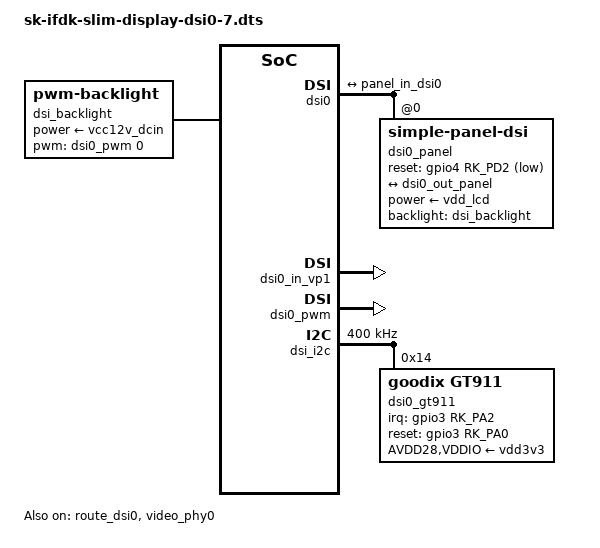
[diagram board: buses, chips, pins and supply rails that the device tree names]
// SPDX-License-Identifier: (GPL-2.0+ OR MIT)
/*
* Copyright (c) 2025 Sergey Kharenko
*/

/dts-v1/;
/plugin/;

#include <dt-bindings/display/drm_mipi_dsi.h>
#include <dt-bindings/display/rockchip_vop.h>
#include <dt-bindings/interrupt-controller/irq.h>
#include <dt-bindings/gpio/gpio.h>
#include <dt-bindings/pinctrl/rockchip.h>

/ {
	metadata {
		title ="Enable SK IFDK Slim Display 7 with Touchpad";
		compatible = "sk,ifdk-lite";
		category = "display";
		exclusive = "dsi0";
		description = "Enable SK IFDK Slim Display 7 with Touchpad.";
	};

    fragment@0 {
		target-path = "/";

        __overlay__ {
            dsi_backlight: dsi-backlight {
                compatible = "pwm-backlight";
                brightness-levels = <
                    0  20  20  21  21  22  22  23
                    23  24  24  25  25  26  26  27
                    27  28  28  29  29  30  30  31
                    31  32  32  33  33  34  34  35
                    35  36  36  37  37  38  38  39
                    40  41  42  43  44  45  46  47
                    48  49  50  51  52  53  54  55
                    56  57  58  59  60  61  62  63
                    64  65  66  67  68  69  70  71
                    72  73  74  75  76  77  78  79
                    80  81  82  83  84  85  86  87
                    88  89  90  91  92  93  94  95
                    96  97  98  99 100 101 102 103
                    104 105 106 107 108 109 110 111
                    112 113 114 115 116 117 118 119
                    120 121 122 123 124 125 126 127
                    128 129 130 131 132 133 134 135
                    136 137 138 139 140 141 142 143
                    144 145 146 147 148 149 150 151
                    152 153 154 155 156 157 158 159
                    160 161 162 163 164 165 166 167
                    168 169 170 171 172 173 174 175
                    176 177 178 179 180 181 182 183
                    184 185 186 187 188 189 190 191
                    192 193 194 195 196 197 198 199
                    200 201 202 203 204 205 206 207
                    208 209 210 211 212 213 214 215
                    216 217 218 219 220 221 222 223
                    224 225 226 227 228 229 230 231
                    232 233 234 235 236 237 238 239
                    240 241 242 243 244 245 246 247
                    248 249 250 251 252 253 254 255
                >;
                default-brightness-level = <200>;
                power-supply = <&vcc12v_dcin>;
                pwms = <&dsi0_pwm 0 20000 0>;
            };
        };
    };

    fragment@1 {
        target = <&dsi0>;

        __overlay__ {
            status = "okay";
            #address-cells = <1>;
			#size-cells = <0>;

            dsi0_panel: main-panel@0 {
                status = "okay";
                compatible = "simple-panel-dsi";
                reg = <0>;
                rotation = <270>;
                power-supply = <&vdd_lcd>;
                backlight = <&dsi_backlight>;
                pinctrl-names = "default";
                pinctrl-0 = <&lcd_rst>;
                reset-gpios = <&gpio4 RK_PD2 GPIO_ACTIVE_LOW>;
                panel-name = "AML070WU01";
                reset-delay-ms = <120>;
                enable-delay-ms = <50>;
                prepare-delay-ms = <50>;
                unprepare-delay-ms = <50>;
                disable-delay-ms = <60>;
                init-delay-ms = <200>;
        
                dsi,bpc = <8>;
                dsi,flags = <(MIPI_DSI_MODE_VIDEO | MIPI_DSI_MODE_VIDEO_BURST |
                        MIPI_DSI_MODE_VIDEO_SYNC_PULSE)>;
                dsi,format = <MIPI_DSI_FMT_RGB888>;
                dsi,lanes  = <4>;
        
                panel-init-sequence = [
                    39 00 03 E0 AB BA
                    15 00 02 FF 01
                    15 00 02 83 16 
                    15 00 02 90 81 
                    15 00 02 FF 02 
                    15 00 02 80 A0 
                    15 00 02 81 80 
                    15 00 02 82 50 
                    15 00 02 A2 B0 
                    15 00 02 A3 49 
                    15 00 02 A4 6B 
                    15 00 02 A5 34 
                    15 00 02 A6 22 
                    15 00 02 A7 34 
                    15 00 02 A8 22 
                    15 00 02 A9 51 
                    15 00 02 AA D4 
                    15 00 02 AB A6 
                    15 00 02 AC 05 
                    15 00 02 AD AB 
                    15 00 02 AE 3B 
                    15 00 02 AF 1B 
                    15 00 02 B0 1E 
                    15 00 02 B1 AB 
                    15 00 02 B2 C1 
                    15 00 02 B3 22 
                    15 00 02 B4 FF 
                    15 00 02 B5 CC 
                    15 00 02 B6 23 
                    15 00 02 B7 01 
                    15 00 02 BF 00 
                    15 00 02 C0 0E 
                    15 00 02 C1 00 
                    15 00 02 C2 FF 
                    15 00 02 C3 08 
                    15 00 02 C5 FF 
                    15 00 02 C7 00 
                    15 00 02 C8 05 
                    15 00 02 C9 12 
                    15 00 02 CA 29 
                    15 00 02 CB 41 
                    15 00 02 CE 06 
                    15 00 02 D1 7F 
                    15 00 02 D2 71 
                    15 00 02 D3 6B 
                    15 00 02 D4 6F 
                    15 00 02 D5 6F 
                    15 00 02 D6 6D 
                    15 00 02 D7 69 
                    15 00 02 D8 63 
                    15 00 02 D9 5B 
                    15 00 02 DA 53 
                    15 00 02 DB 4F 
                    15 00 02 DC 4B 
                    15 00 02 DD 4B 
                    15 00 02 DE 43 
                    15 00 02 DF 27 
                    15 00 02 E0 13 
                    15 00 02 E1 00 
                    15 00 02 E2 7F 
                    15 00 02 E3 71 
                    15 00 02 E4 6B 
                    15 00 02 E5 6F 
                    15 00 02 E6 6F 
                    15 00 02 E7 6D 
                    15 00 02 E8 69 
                    15 00 02 E9 63 
                    15 00 02 EA 5B 
                    15 00 02 EB 53 
                    15 00 02 EC 4F 
                    15 00 02 ED 4B 
                    15 00 02 EE 4B 
                    15 00 02 EF 43 
                    15 00 02 F0 27 
                    15 00 02 F1 13 
                    15 00 02 F2 00 
                    15 00 02 FF 03 
                    15 00 02 9D 00 
                    15 00 02 FF 04 
                    15 00 02 80 FD 
                    15 00 02 81 CB 
                    15 00 02 82 A9 
                    15 00 02 83 80 
                    15 00 02 84 86 
                    15 00 02 85 66 
                    15 00 02 86 66 
                    15 00 02 87 60 
                    15 00 02 88 A0 
                    15 00 02 89 08 
                    15 00 02 8A A0 
                    15 00 02 8B 08 
                    15 00 02 8C 02 
                    15 00 02 8D 80 
                    15 00 02 8E 00 
                    15 00 02 8F 00 
                    15 00 02 90 00 
                    15 00 02 91 05 
                    15 00 02 92 00 
                    15 00 02 93 0F 
                    15 00 02 94 00 
                    15 00 02 95 08 
                    15 00 02 96 00 
                    15 00 02 97 00 
                    15 00 02 98 00 
                    15 00 02 99 00 
                    15 00 02 9A 00 
                    15 00 02 9B 01 
                    15 00 02 9C 00 
                    15 00 02 9D 74 
                    15 00 02 9E 12 
                    15 00 02 9F B2 
                    15 00 02 A0 07 
                    15 00 02 A1 A0 
                    15 00 02 A2 08 
                    15 00 02 A3 60 
                    15 00 02 A4 08 
                    15 00 02 A5 02 
                    15 00 02 A6 54 
                    15 00 02 A7 80 
                    15 00 02 A8 00 
                    15 00 02 A9 00 
                    15 00 02 AA 00 
                    15 00 02 AB 00 
                    15 00 02 AC 00 
                    15 00 02 AD 00 
                    15 00 02 AE 00 
                    15 00 02 AF 00 
                    15 00 02 B0 00 
                    15 00 02 B1 00 
                    15 00 02 B2 00 
                    15 00 02 B3 00 
                    15 00 02 B4 09 
                    15 00 02 B5 01 
                    15 00 02 B6 13 
                    15 00 02 B7 08 
                    15 00 02 B8 12 
                    15 00 02 B9 00 
                    15 00 02 BA 03 
                    15 00 02 BB 00 
                    15 00 02 BC 00 
                    15 00 02 BD 01 
                    15 00 02 BE 70 
                    15 00 02 BF BA 
                    15 00 02 C0 98 
                    15 00 02 C1 76 
                    15 00 02 C2 54 
                    15 00 02 C3 32 
                    15 00 02 C4 10 
                    15 00 02 C5 CD 
                    15 00 02 C6 EF 
                    15 00 02 C7 00 
                    15 00 02 C8 00 
                    15 00 02 C9 20 
                    15 00 02 CB 21 
                    15 00 02 CD 27 
                    15 00 02 CF 10 
                    15 00 02 D0 12 
                    15 00 02 D1 14 
                    15 00 02 D2 16 
                    15 00 02 D3 18 
                    15 00 02 D4 1A 
                    15 00 02 D5 05 
                    15 00 02 D6 07 
                    15 00 02 D7 09 
                    15 00 02 D9 00 
                    15 00 02 DA 00 
                    15 00 02 DB 00 
                    15 00 02 DC 00 
                    15 00 02 DD 20 
                    15 00 02 DF 21 
                    15 00 02 E3 27 
                    15 00 02 E5 11 
                    15 00 02 E6 13 
                    15 00 02 E7 15 
                    15 00 02 E8 17 
                    15 00 02 E9 19 
                    15 00 02 EA 1B 
                    15 00 02 EB 06 
                    15 00 02 EC 08 
                    15 00 02 ED 0A 
                    15 00 02 EF 00 
                    15 00 02 F0 00 
                    15 00 02 F1 A2 
                    15 00 02 F2 18 
                    15 00 02 F3 11 
                    15 00 02 F4 00 
                    15 00 02 F5 11 
                    15 00 02 F6 00 
                    15 00 02 F7 11 
                    15 00 02 F8 00 
                    15 00 02 F9 00 
                    15 00 02 FA 00 
                    15 00 02 FB 00 
                    15 00 02 FC 20 
                    15 00 02 FD 00 
                    15 00 02 FE 00 
                    15 00 02 FF 05 
                    15 00 02 8F E8 
                    15 00 02 90 84 
                    15 00 02 91 77 
                    15 00 02 FF 06 
                    15 00 02 80 10 
                    15 00 02 FF 07 
                    15 00 02 80 14 
                    15 00 02 81 12 
                    15 00 02 82 02 
                    15 00 02 83 20 
                    15 00 02 84 24 
                    15 00 02 85 0C 
                    15 00 02 86 56 
                    15 00 02 87 77 
                    15 00 02 88 80 
                    15 00 02 89 33 
                    15 00 02 8A 00 
                    15 00 02 8B 04 
                    15 00 02 8C 09 
                    15 00 02 8D 40 
                    15 00 02 8E 40 
                    15 00 02 91 11 
                    15 00 02 92 2C 
                    15 00 02 93 2D 
                    15 00 02 94 03 
                    15 00 02 A0 0A 
                    15 00 02 A2 13 
                    15 00 02 FF 00 
        
                    05 96 01 11
                    05 14 01 29
                ];
        
                panel-exit-sequence = [
                    05 78 01 28
                    05 78 01 10
                ];
        
                display-timings {
                    native-mode = <&dsi0_timing0>;
                    dsi0_timing0: timing0 {
                        clock-frequency = <148000000>;
                        hactive = <1200>;
                        vactive = <1920>;
                        hfront-porch = <36>;
                        hsync-len = <10>;
                        hback-porch = <36>;
                        vfront-porch = <8>;
                        vsync-len = <2>;
                        vback-porch = <7>;
                        hsync-active = <0>;
                        vsync-active = <0>;
                        de-active = <0>;
                        pixelclk-active = <0>;
                    };
                };
        
                ports {
                    #address-cells = <1>;
                    #size-cells = <0>;
                    port@0 {
                        reg = <0>;
                        panel_in_dsi0: endpoint {
                            remote-endpoint = <&dsi0_out_panel>;
                        };
                    };
                };
            };
        
            ports {
                #address-cells = <1>;
                #size-cells = <0>;
        
                dsi0_out: port@1 {
                    reg = <1>;
                    dsi0_out_panel: endpoint {
                        remote-endpoint = <&panel_in_dsi0>;
                    };
                };
            };
        };
    };

    fragment@2 {
        target = <&dsi0_in_vp1>;

        __overlay__ {
            status = "okay";
        };
    };

    fragment@3 {
        target = <&dsi0_pwm>;

        __overlay__ {
            status = "okay";
        };
    };

    fragment@4 {
        target = <&route_dsi0>;

        __overlay__ {
            status = "okay";
            connect = <&vp1_out_dsi0>;
        };
    };

    fragment@5 {
        target = <&video_phy0>;

        __overlay__ {
            status = "okay";
        };
    };
    
    fragment@6 {
        target = <&dsi_i2c>;

        __overlay__ {
            status = "okay";
            clock-frequency = <400000>;
            #address-cells = <1>;
            #size-cells = <0>;

            dsi0_gt911: dsi0-gt911@14 {
                compatible = "goodix,gt911";
                reg = <0x14>;
                AVDD28-supply = <&vdd3v3>;
                VDDIO-supply = <&vdd3v3>;
                pinctrl-names = "default";
                pinctrl-0 = <&touch_gpio>;
                interrupts = <RK_PA2 IRQ_TYPE_EDGE_FALLING>;
                interrupt-parent = <&gpio3>;
                irq-gpios = <&gpio3 RK_PA2 GPIO_ACTIVE_HIGH>;
                reset-gpios = <&gpio3 RK_PA0 GPIO_ACTIVE_HIGH>;
                touchscreen-size-x = <1200>;
                touchscreen-size-y = <1920>;
            };
        };
    };
};
